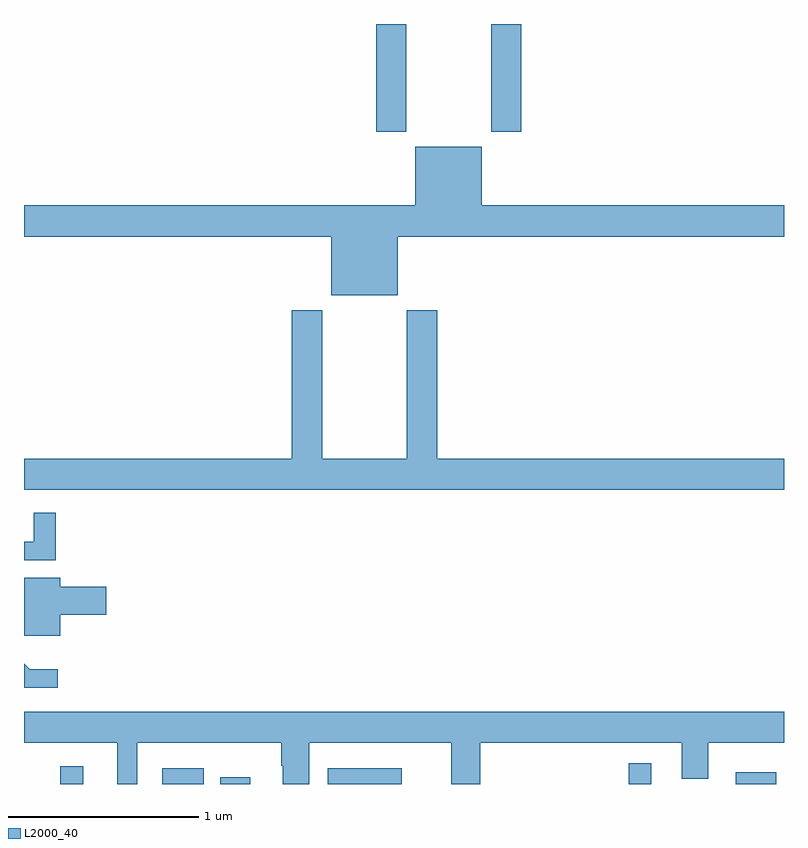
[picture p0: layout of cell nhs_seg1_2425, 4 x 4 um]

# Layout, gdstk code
import gdstk
lib = gdstk.Library(unit=1e-6, precision=1e-09)
def R(c, l, rs):  # rectangles x0, y0, x1, y1
    for r in rs: c.add(gdstk.rectangle(r[:2], r[2:], *l))
def P(c, l, *ps):  # polygons
    for p in ps: c.add(gdstk.Polygon(p, *l))
L2000_40 = (2000, 40)

nhs_seg1_2425 = lib.new_cell('nhs_seg1_2425')
R(nhs_seg1_2425, L2000_40, [(243.192,534.199,243.313,534.292), (243.728,534.199,243.946,534.283), (244.034,534.199,244.192,534.235), (244.598,534.199,244.987,534.283), (246.184,534.199,246.3,534.307), (246.746,534.199,246.958,534.262), (244.853,537.633,245.013,538.199), (245.458,537.633,245.618,538.199)])
P(nhs_seg1_2425, L2000_40, [(244.966,537.08),(247,537.08),(247,537.244),(245.41,537.244),(245.41,537.553),(245.06,537.553),(245.06,537.244),(243,537.244),(243,537.08),(244.616,537.08),(244.616,536.771),(244.966,536.771)],
  [(247,535.912),(245.174,535.912),(245.174,536.692),(245.014,536.692),(245.014,535.912),(244.569,535.912),(244.569,536.692),(244.409,536.692),(244.409,535.912),(243,535.912),(243,535.748),(247,535.748)],
  [(243.167,535.627),(243.05,535.627),(243.05,535.473),(243,535.473),(243,535.377),(243.167,535.377)],
  [(243.19,535.091),(243.433,535.091),(243.433,535.238),(243.19,535.238),(243.19,535.285),(243,535.285),(243,534.98),(243.19,534.98)],
  [(243.178,534.802),(243.029,534.802),(243,534.831),(243,534.705),(243.178,534.705)],
  [(243.595,534.416),(244.354,534.416),(244.354,534.296),(244.361,534.296),(244.361,534.199),(244.501,534.199),(244.501,534.416),(245.249,534.416),(245.249,534.199),(245.402,534.199),(245.402,534.416),(246.461,534.416),(246.461,534.227),(246.601,534.227),(246.601,534.416),(247,534.416),(247,534.58),(243,534.58),(243,534.416),(243.491,534.416),(243.491,534.199),(243.595,534.199)])

lib.write_gds('nhs_seg1_2425.gds')
